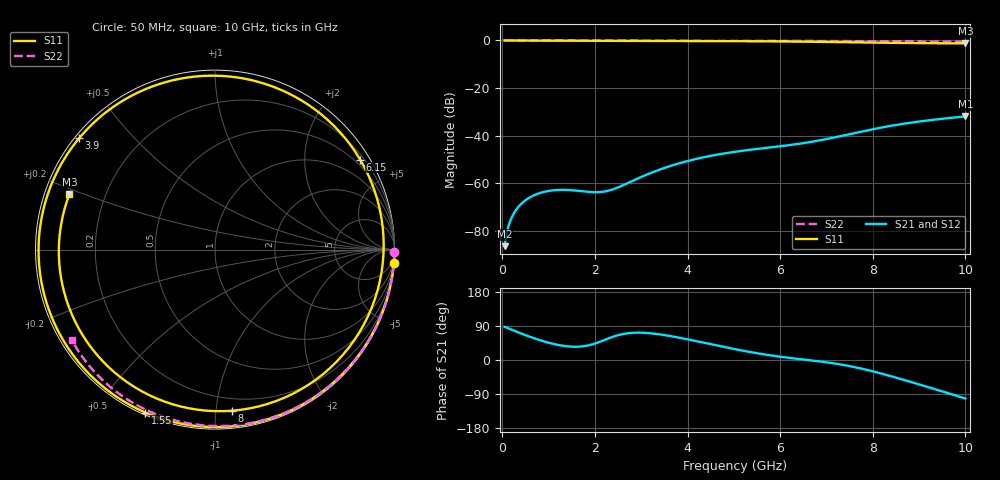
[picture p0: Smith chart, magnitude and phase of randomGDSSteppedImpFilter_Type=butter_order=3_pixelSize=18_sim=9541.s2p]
! freq	dB(S11)	phase(S11)	dB(S12)	phase(S12)
!  dB(S21)	phase(S21)	dB(S22)	phase(S22)
!S-par simulation data
#  GHz  S  DB  R 50
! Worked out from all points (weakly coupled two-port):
!   200 points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, 50 MHz to 10 GHz, reference 50 ohm
!   highest |S21| = -31.92 dB at 10 GHz (marker M1); lowest = -86.4 dB at 50 MHz (marker M2)
!   lowest |S11| = -1.2 dB at 10 GHz (marker M3), VSWR 14.13, Z = 3.66 + j9.17 ohm
!   |S11| at or under -10 dB: nowhere
!   |S22| runs from -0.5 to 0.0 dB; largest |S21 - S12| = 0
!   S11 on the Smith chart (normalised r, x): 50 MHz: 0, -27; 1.55 GHz: 0.01, -0.66; 3.9 GHz: 0.01, +0.36; 6.15 GHz: 0.33, +3.48; 8 GHz: 0.11, -1.11; 10 GHz: 0.07, +0.18
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0.05  -0.00 -4.3  -86.45 87.5  -86.45 87.5  -0.00 -0.9
0.1  -0.01 -8.5  -80.45 85.0  -80.45 85.0  -0.00 -1.7
0.2  -0.03 -16.9  -74.52 80.0  -74.52 80.0  -0.01 -3.4
0.35  -0.05 -29.4  -69.90 72.6  -69.90 72.6  -0.01 -5.9
0.8  -0.08 -64.4  -64.19 52.8  -64.19 52.8  -0.02 -13.5
1.15  -0.10 -88.7  -62.88 41.1  -62.88 41.1  -0.02 -19.4
1.55  -0.11 -113.2  -63.02 34.9  -63.02 34.9  -0.03 -26.0
1.75  -0.12 -124.2  -63.42 36.2  -63.42 36.2  -0.04 -29.3
2.55  -0.14 -162.9  -61.34 67.0  -61.34 67.0  -0.06 -42.3
3.4  -0.16 161.2  -54.26 67.6  -54.26 67.6  -0.07 -55.8
3.9  -0.19 140.7  -51.19 57.0  -51.19 57.0  -0.09 -63.4
4.5  -0.22 115.1  -48.49 41.8  -48.49 41.8  -0.11 -72.5
5.05  -0.27 90.0  -46.72 28.0  -46.72 28.0  -0.12 -80.5
5.6  -0.34 62.3  -45.37 15.9  -45.37 15.9  -0.15 -88.4
6.15  -0.43 31.8  -44.11 6.3  -44.11 6.3  -0.17 -96.2
6.7  -0.55 -1.3  -42.53 -1.5  -42.53 -1.5  -0.20 -103.7
7.05  -0.63 -23.4  -41.24 -6.9  -41.24 -6.9  -0.22 -108.5
7.45  -0.74 -49.0  -39.58 -15.0  -39.58 -15.0  -0.25 -113.9
8  -0.89 -83.9  -37.30 -29.9  -37.30 -29.9  -0.29 -121.2
8.35  -0.98 -105.5  -36.01 -41.3  -36.01 -41.3  -0.32 -125.8
9.2  -1.15 -155.6  -33.59 -71.7  -33.59 -71.7  -0.41 -137.0
10  -1.23 159.1  -31.92 -101.7  -31.92 -101.7  -0.50 -147.6
